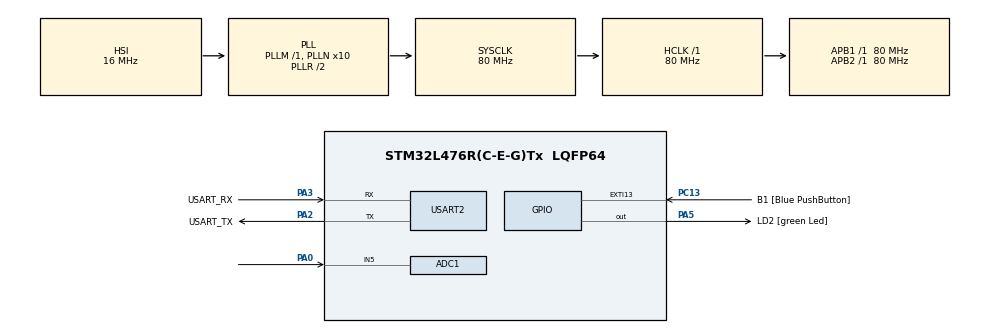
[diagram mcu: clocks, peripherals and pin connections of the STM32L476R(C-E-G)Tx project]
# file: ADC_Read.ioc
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ADC1.Channel-1\#ChannelRegularConversion=ADC_CHANNEL_5
ADC1.NbrOfConversionFlag=1
ADC1.OffsetNumber-1\#ChannelRegularConversion=ADC_OFFSET_NONE
ADC1.Rank-1\#ChannelRegularConversion=1
ADC1.SamplingTime-1\#ChannelRegularConversion=ADC_SAMPLETIME_2CYCLES_5
ADC1.master=1
Mcu.Family=STM32L4
Mcu.Name=STM32L476R(C-E-G)Tx
Mcu.Package=LQFP64
NVIC.PriorityGroup=NVIC_PRIORITYGROUP_4
PA0.Signal=ADCx_IN5
PA13\ (JTMS-SWDIO).GPIO_Label=TMS
PA13\ (JTMS-SWDIO).Mode=Serial_Wire
PA13\ (JTMS-SWDIO).Signal=SYS_JTMS-SWDIO
PA14\ (JTCK-SWCLK).GPIO_Label=TCK
PA14\ (JTCK-SWCLK).Mode=Serial_Wire
PA14\ (JTCK-SWCLK).Signal=SYS_JTCK-SWCLK
PA2.GPIO_Label=USART_TX
PA2.GPIO_Mode=GPIO_MODE_AF_PP
PA2.GPIO_PuPd=GPIO_NOPULL
PA2.GPIO_Speed=GPIO_SPEED_FREQ_VERY_HIGH
PA2.Mode=Asynchronous
PA2.Signal=USART2_TX
PA3.GPIO_Label=USART_RX
PA3.GPIO_Mode=GPIO_MODE_AF_PP
PA3.GPIO_PuPd=GPIO_NOPULL
PA3.GPIO_Speed=GPIO_SPEED_FREQ_VERY_HIGH
PA3.Mode=Asynchronous
PA3.Signal=USART2_RX
PA5.GPIO_Label=LD2 [green Led]
PA5.GPIO_ModeDefaultOutputPP=GPIO_MODE_OUTPUT_PP
PA5.GPIO_PuPd=GPIO_NOPULL
PA5.GPIO_Speed=GPIO_SPEED_FREQ_LOW
PA5.Signal=GPIO_Output
PB3\ (JTDO-TRACESWO).GPIO_Label=SWO
PB3\ (JTDO-TRACESWO).Signal=SYS_JTDO-SWO
PC13.GPIO_Label=B1 [Blue PushButton]
PC13.GPIO_ModeDefaultEXTI=GPIO_MODE_IT_FALLING
PC13.GPIO_PuPd=GPIO_NOPULL
PC13.Signal=GPXTI13
PC14-OSC32_IN\ (PC14).Mode=LSE-External-Oscillator
PC14-OSC32_IN\ (PC14).Signal=RCC_OSC32_IN
PC15-OSC32_OUT\ (PC15).Mode=LSE-External-Oscillator
PC15-OSC32_OUT\ (PC15).Signal=RCC_OSC32_OUT
PH0-OSC_IN\ (PH0).Signal=RCC_OSC_IN
PH1-OSC_OUT\ (PH1).Signal=RCC_OSC_OUT
ProjectManager.HeapSize=0x200
ProjectManager.StackSize=0x400
ProjectManager.TargetToolchain=STM32CubeIDE
RCC.ADCFreq_Value=64000000
RCC.AHBFreq_Value=80000000
RCC.APB1Freq_Value=80000000
RCC.APB1TimFreq_Value=80000000
RCC.APB2Freq_Value=80000000
RCC.APB2TimFreq_Value=80000000
RCC.CortexFreq_Value=80000000
RCC.HCLKFreq_Value=80000000
RCC.HSE_VALUE=8000000
RCC.HSI_VALUE=16000000
RCC.MSI_VALUE=4000000
RCC.PLLN=10
RCC.PLLSourceVirtual=RCC_PLLSOURCE_HSI
RCC.PREFETCH_ENABLE=1
RCC.SYSCLKFreq_VALUE=80000000
RCC.SYSCLKSource=RCC_SYSCLKSOURCE_PLLCLK
RCC.USBFreq_Value=64000000
RCC.VCOOutputFreq_Value=160000000
SH.ADCx_IN5.0=ADC1_IN5,IN5-Single-Ended
USART2.VirtualMode-Asynchronous=VM_ASYNC
board=NUCLEO-L476RG

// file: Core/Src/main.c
#include "main.h"
#include <stdio.h>
#include <string.h>

#define BUFFER_SIZE 100  // Define buffer size

ADC_HandleTypeDef hadc1;
UART_HandleTypeDef huart2;

volatile uint8_t buffer_select = 0; // Buffer selection flag
volatile uint16_t buffer_index = 0; // Index for storing ADC values
uint16_t adc_buffer1[BUFFER_SIZE];
uint16_t adc_buffer2[BUFFER_SIZE];
char uart_buffer[50]; // Buffer for UART transmission

/* Function Prototypes */
void SystemClock_Config(void);
static void MX_GPIO_Init(void);
static void MX_ADC1_Init(void);
static void MX_USART2_UART_Init(void);
void Send_Buffer_UART(void);

/* USER CODE BEGIN 0 */
void HAL_ADC_ConvCpltCallback(ADC_HandleTypeDef *hadc) {
    if (hadc->Instance == ADC1) {
        // Store ADC value in the current buffer
        if (buffer_select == 0) {
            adc_buffer1[buffer_index] = HAL_ADC_GetValue(&hadc1);
        } else {
            adc_buffer2[buffer_index] = HAL_ADC_GetValue(&hadc1);
        }

        buffer_index++;

        if (buffer_index >= BUFFER_SIZE) {
            buffer_index = 0;
            buffer_select ^= 1;  // Toggle buffer selection
        }

        HAL_ADC_Start_IT(&hadc1); // Restart ADC for next conversion
    }
}

void Send_Buffer_UART(void) {
    if (buffer_select == 0) {
        for (int i = 0; i < BUFFER_SIZE; i++) {
            sprintf(uart_buffer, "ADC1[%d]: %u\r\n", i, adc_buffer1[i]);
            HAL_UART_Transmit(&huart2, (uint8_t*)uart_buffer, strlen(uart_buffer), 500);
        }
    } else {
        for (int i = 0; i < BUFFER_SIZE; i++) {
            sprintf(uart_buffer, "ADC2[%d]: %u\r\n", i, adc_buffer2[i]);
            HAL_UART_Transmit(&huart2, (uint8_t*)uart_buffer, strlen(uart_buffer), 500);
        }
    }
}

/* USER CODE END 0 */

int main(void) {
    HAL_Init();
    SystemClock_Config();
    MX_GPIO_Init();
    MX_USART2_UART_Init();
    MX_ADC1_Init();

    HAL_ADC_Start_IT(&hadc1); // Start ADC with Interrupt

    while (1) {
        Send_Buffer_UART();
        HAL_Delay(1000); // Delay to prevent excessive UART transmission
    }
}
void SystemClock_Config(void)
{
  RCC_OscInitTypeDef RCC_OscInitStruct = {0};
  RCC_ClkInitTypeDef RCC_ClkInitStruct = {0};

  /** Configure the main internal regulator output voltage
  */
  if (HAL_PWREx_ControlVoltageScaling(PWR_REGULATOR_VOLTAGE_SCALE1) != HAL_OK)
  {
    Error_Handler();
  }

  /** Initializes the RCC Oscillators according to the specified parameters
  * in the RCC_OscInitTypeDef structure.
  */
  RCC_OscInitStruct.OscillatorType = RCC_OSCILLATORTYPE_HSI;
  RCC_OscInitStruct.HSIState = RCC_HSI_ON;
  RCC_OscInitStruct.HSICalibrationValue = RCC_HSICALIBRATION_DEFAULT;
  RCC_OscInitStruct.PLL.PLLState = RCC_PLL_ON;
  RCC_OscInitStruct.PLL.PLLSource = RCC_PLLSOURCE_HSI;
  RCC_OscInitStruct.PLL.PLLM = 1;
  RCC_OscInitStruct.PLL.PLLN = 10;
  RCC_OscInitStruct.PLL.PLLP = RCC_PLLP_DIV7;
  RCC_OscInitStruct.PLL.PLLQ = RCC_PLLQ_DIV2;
  RCC_OscInitStruct.PLL.PLLR = RCC_PLLR_DIV2;
  if (HAL_RCC_OscConfig(&RCC_OscInitStruct) != HAL_OK)
  {
    Error_Handler();
  }

  /** Initializes the CPU, AHB and APB buses clocks
  */
  RCC_ClkInitStruct.ClockType = RCC_CLOCKTYPE_HCLK|RCC_CLOCKTYPE_SYSCLK
                              |RCC_CLOCKTYPE_PCLK1|RCC_CLOCKTYPE_PCLK2;
  RCC_ClkInitStruct.SYSCLKSource = RCC_SYSCLKSOURCE_PLLCLK;
  RCC_ClkInitStruct.AHBCLKDivider = RCC_SYSCLK_DIV1;
  RCC_ClkInitStruct.APB1CLKDivider = RCC_HCLK_DIV1;
  RCC_ClkInitStruct.APB2CLKDivider = RCC_HCLK_DIV1;

  if (HAL_RCC_ClockConfig(&RCC_ClkInitStruct, FLASH_LATENCY_4) != HAL_OK)
  {
    Error_Handler();
  }
}

static void MX_ADC1_Init(void)
{

  ADC_MultiModeTypeDef multimode = {0};
  ADC_ChannelConfTypeDef sConfig = {0};

  /** Common config
  */
  hadc1.Instance = ADC1;
  hadc1.Init.ClockPrescaler = ADC_CLOCK_ASYNC_DIV1;
  hadc1.Init.Resolution = ADC_RESOLUTION_12B;
  hadc1.Init.DataAlign = ADC_DATAALIGN_RIGHT;
  hadc1.Init.ScanConvMode = ADC_SCAN_DISABLE;
  hadc1.Init.EOCSelection = ADC_EOC_SINGLE_CONV;
  hadc1.Init.LowPowerAutoWait = DISABLE;
  hadc1.Init.ContinuousConvMode = DISABLE;
  hadc1.Init.NbrOfConversion = 1;
  hadc1.Init.DiscontinuousConvMode = DISABLE;
  hadc1.Init.ExternalTrigConv = ADC_SOFTWARE_START;
  hadc1.Init.ExternalTrigConvEdge = ADC_EXTERNALTRIGCONVEDGE_NONE;
  hadc1.Init.DMAContinuousRequests = DISABLE;
  hadc1.Init.Overrun = ADC_OVR_DATA_PRESERVED;
  hadc1.Init.OversamplingMode = DISABLE;
  if (HAL_ADC_Init(&hadc1) != HAL_OK)
  {
    Error_Handler();
  }

  /** Configure the ADC multi-mode
  */
  multimode.Mode = ADC_MODE_INDEPENDENT;
  if (HAL_ADCEx_MultiModeConfigChannel(&hadc1, &multimode) != HAL_OK)
  {
    Error_Handler();
  }

  /** Configure Regular Channel
  */
  sConfig.Channel = ADC_CHANNEL_5;
  sConfig.Rank = ADC_REGULAR_RANK_1;
  sConfig.SamplingTime = ADC_SAMPLETIME_2CYCLES_5;
  sConfig.SingleDiff = ADC_SINGLE_ENDED;
  sConfig.OffsetNumber = ADC_OFFSET_NONE;
  sConfig.Offset = 0;
  if (HAL_ADC_ConfigChannel(&hadc1, &sConfig) != HAL_OK)
  {
    Error_Handler();
  }

}

static void MX_USART2_UART_Init(void)
{

  huart2.Instance = USART2;
  huart2.Init.BaudRate = 115200;
  huart2.Init.WordLength = UART_WORDLENGTH_8B;
  huart2.Init.StopBits = UART_STOPBITS_1;
  huart2.Init.Parity = UART_PARITY_NONE;
  huart2.Init.Mode = UART_MODE_TX_RX;
  huart2.Init.HwFlowCtl = UART_HWCONTROL_NONE;
  huart2.Init.OverSampling = UART_OVERSAMPLING_16;
  huart2.Init.OneBitSampling = UART_ONE_BIT_SAMPLE_DISABLE;
  huart2.AdvancedInit.AdvFeatureInit = UART_ADVFEATURE_NO_INIT;
  if (HAL_UART_Init(&huart2) != HAL_OK)
  {
    Error_Handler();
  }

}

static void MX_GPIO_Init(void)
{
  GPIO_InitTypeDef GPIO_InitStruct = {0};

  /* GPIO Ports Clock Enable */
  __HAL_RCC_GPIOC_CLK_ENABLE();
  __HAL_RCC_GPIOH_CLK_ENABLE();
  __HAL_RCC_GPIOA_CLK_ENABLE();
  __HAL_RCC_GPIOB_CLK_ENABLE();

  /*Configure GPIO pin Output Level */
  HAL_GPIO_WritePin(LD2_GPIO_Port, LD2_Pin, GPIO_PIN_RESET);

  /*Configure GPIO pin : B1_Pin */
  GPIO_InitStruct.Pin = B1_Pin;
  GPIO_InitStruct.Mode = GPIO_MODE_IT_FALLING;
  GPIO_InitStruct.Pull = GPIO_NOPULL;
  HAL_GPIO_Init(B1_GPIO_Port, &GPIO_InitStruct);

  /*Configure GPIO pin : LD2_Pin */
  GPIO_InitStruct.Pin = LD2_Pin;
  GPIO_InitStruct.Mode = GPIO_MODE_OUTPUT_PP;
  GPIO_InitStruct.Pull = GPIO_NOPULL;
  GPIO_InitStruct.Speed = GPIO_SPEED_FREQ_LOW;
  HAL_GPIO_Init(LD2_GPIO_Port, &GPIO_InitStruct);

}

void Error_Handler(void)
{
  __disable_irq();
  while (1)
  {
  }
}
